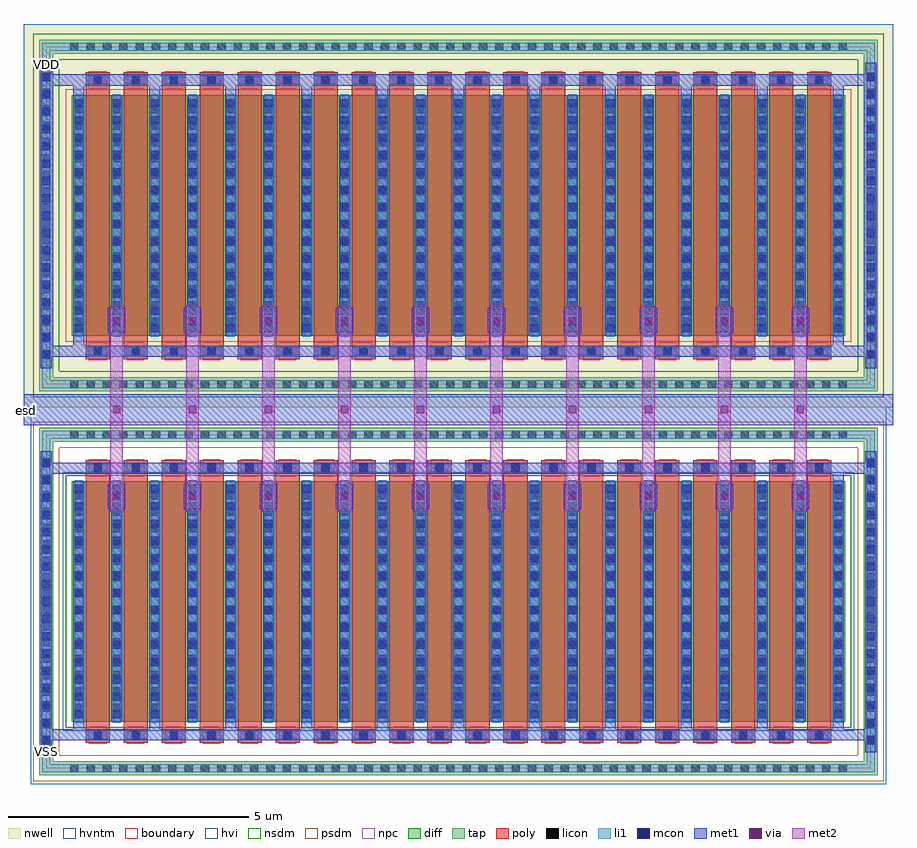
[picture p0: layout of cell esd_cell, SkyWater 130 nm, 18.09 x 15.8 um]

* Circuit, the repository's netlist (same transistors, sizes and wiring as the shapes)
* esd_cell spice

.subckt esd_cell esd VDD VSS
XM1 esd VSS VSS VSS sky130_fd_pr__nfet_g5v0d10v5 L=0.5 W=5 nf=1 ad='int((nf+1)/2) * W/nf * 0.29' as='int((nf+2)/2) * W/nf * 0.29'
+ pd='2*int((nf+1)/2) * (W/nf + 0.29)' ps='2*int((nf+2)/2) * (W/nf + 0.29)' nrd='0.29 / W' nrs='0.29 / W'
+ sa=0 sb=0 sd=0 mult=20 m=20 
XM2 esd VDD VDD VDD sky130_fd_pr__pfet_g5v0d10v5 L=0.5 W=5 nf=1 ad='int((nf+1)/2) * W/nf * 0.29' as='int((nf+2)/2) * W/nf * 0.29'
+ pd='2*int((nf+1)/2) * (W/nf + 0.29)' ps='2*int((nf+2)/2) * (W/nf + 0.29)' nrd='0.29 / W' nrs='0.29 / W'
+ sa=0 sb=0 sd=0 mult=20 m=20 
.ends

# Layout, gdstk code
import gdstk
lib = gdstk.Library(unit=1e-6, precision=1e-09)
def R(c, l, rs):  # rectangles x0, y0, x1, y1
    for r in rs: c.add(gdstk.rectangle(r[:2], r[2:], *l))
def A(c, l, x, y, w, h, nx, ny, dx, dy):  # array of equal rectangles
    R(c, l, [(x+i*dx, y+j*dy, x+i*dx+w, y+j*dy+h) for i in range(nx) for j in range(ny)])
nwell = (64, 20)
diff = (65, 20)
tap = (65, 44)
poly = (66, 20)
licon = (66, 44)
li1 = (67, 20)
mcon = (67, 44)
met1 = (68, 20)
via = (68, 44)
met2 = (69, 20)
hvi = (75, 20)
nsdm = (93, 44)
psdm = (94, 20)
npc = (95, 20)
hvntm = (125, 20)
boundary = (235, 4)

sky130_fd_pr__pfet_g5v0d = lib.new_cell('sky130_fd_pr__pfet_g5v0d10v5_CADZ46')
R(sky130_fd_pr__pfet_g5v0d, nwell, [(-9.045,-3.985,9.045,3.985)])
R(sky130_fd_pr__pfet_g5v0d, diff, [(-8.045,-2.5,8.045,2.5)])
R(sky130_fd_pr__pfet_g5v0d, tap, [(-8.715,-3.655,8.715,-3.365), (-8.715,-3.365,-8.425,3.365), (8.425,-3.365,8.715,3.365), (-8.715,3.365,8.715,3.655)])
A(sky130_fd_pr__pfet_g5v0d, poly, -7.755, -2.985, 0.5, 5.97, 20, 1, 0.79, 0)
A(sky130_fd_pr__pfet_g5v0d, licon, -8.075, -3.595, 0.17, 0.17, 48, 2, 0.34, 7.02)
A(sky130_fd_pr__pfet_g5v0d, licon, -8.655, -2.975, 0.17, 0.17, 1, 18, 0, 0.34)
A(sky130_fd_pr__pfet_g5v0d, licon, 8.485, -2.975, 0.17, 0.17, 1, 18, 0, 0.34)
A(sky130_fd_pr__pfet_g5v0d, licon, -7.59, -2.905, 0.17, 0.17, 20, 2, 0.79, 5.64)
A(sky130_fd_pr__pfet_g5v0d, licon, -7.985, -2.295, 0.17, 0.17, 21, 14, 0.79, 0.34)
A(sky130_fd_pr__pfet_g5v0d, li1, -7.755, -2.905, 0.5, 0.17, 20, 2, 0.79, 5.64)
A(sky130_fd_pr__pfet_g5v0d, li1, -7.985, -2.52, 0.17, 5.04, 21, 1, 0.79, 0)
R(sky130_fd_pr__pfet_g5v0d, li1, [(-8.655,-3.595,8.655,-3.425), (-8.655,-3.425,-8.485,3.425), (8.485,-3.425,8.655,3.425), (-8.655,3.425,8.655,3.595)])
A(sky130_fd_pr__pfet_g5v0d, mcon, -7.59, -2.905, 0.17, 0.17, 20, 2, 0.79, 5.64)
A(sky130_fd_pr__pfet_g5v0d, mcon, -7.985, -2.425, 0.17, 0.17, 21, 14, 0.79, 0.36)
A(sky130_fd_pr__pfet_g5v0d, met1, -7.65, -2.935, 0.29, 0.23, 20, 2, 0.79, 5.64)
A(sky130_fd_pr__pfet_g5v0d, met1, -8.015, -2.5, 0.23, 5, 21, 1, 0.79, 0)
R(sky130_fd_pr__pfet_g5v0d, hvi, [(-9.045,-3.985,9.045,3.985)])
R(sky130_fd_pr__pfet_g5v0d, nsdm, [(-8.84,-3.78,8.84,-3.24), (-8.84,-3.24,-8.3,3.24), (8.3,-3.24,8.84,3.24), (-8.84,3.24,8.84,3.78)])
R(sky130_fd_pr__pfet_g5v0d, psdm, [(-8.17,-2.625,8.17,2.625)])
A(sky130_fd_pr__pfet_g5v0d, npc, -7.69, -3.005, 0.37, 0.37, 20, 2, 0.79, 5.64)
R(sky130_fd_pr__pfet_g5v0d, boundary, [(-8.57,-3.51,8.57,3.51)])

sky130_fd_pr__nfet_g5v0d = lib.new_cell('sky130_fd_pr__nfet_g5v0d10v5_BRTJC6')
R(sky130_fd_pr__nfet_g5v0d, diff, [(-8.045,-2.5,8.045,2.5)])
R(sky130_fd_pr__nfet_g5v0d, tap, [(-8.715,-3.61,8.715,-3.32), (-8.715,-3.32,-8.425,3.32), (8.425,-3.32,8.715,3.32), (-8.715,3.32,8.715,3.61)])
A(sky130_fd_pr__nfet_g5v0d, poly, -7.755, -2.94, 0.5, 5.88, 20, 1, 0.79, 0)
A(sky130_fd_pr__nfet_g5v0d, licon, -8.075, -3.55, 0.17, 0.17, 48, 2, 0.34, 6.93)
A(sky130_fd_pr__nfet_g5v0d, licon, -8.655, -2.975, 0.17, 0.17, 1, 18, 0, 0.34)
A(sky130_fd_pr__nfet_g5v0d, licon, 8.485, -2.975, 0.17, 0.17, 1, 18, 0, 0.34)
A(sky130_fd_pr__nfet_g5v0d, licon, -7.59, -2.86, 0.17, 0.17, 20, 2, 0.79, 5.55)
A(sky130_fd_pr__nfet_g5v0d, licon, -7.985, -2.295, 0.17, 0.17, 21, 14, 0.79, 0.34)
A(sky130_fd_pr__nfet_g5v0d, li1, -7.755, -2.86, 0.5, 0.17, 20, 2, 0.79, 5.55)
A(sky130_fd_pr__nfet_g5v0d, li1, -7.985, -2.52, 0.17, 5.04, 21, 1, 0.79, 0)
R(sky130_fd_pr__nfet_g5v0d, li1, [(-8.655,-3.55,8.655,-3.38), (-8.655,-3.38,-8.485,3.38), (8.485,-3.38,8.655,3.38), (-8.655,3.38,8.655,3.55)])
A(sky130_fd_pr__nfet_g5v0d, mcon, -7.59, -2.86, 0.17, 0.17, 20, 2, 0.79, 5.55)
A(sky130_fd_pr__nfet_g5v0d, mcon, -7.985, -2.425, 0.17, 0.17, 21, 14, 0.79, 0.36)
A(sky130_fd_pr__nfet_g5v0d, met1, -7.65, -2.89, 0.29, 0.23, 20, 2, 0.79, 5.55)
A(sky130_fd_pr__nfet_g5v0d, met1, -8.015, -2.5, 0.23, 5, 21, 1, 0.79, 0)
R(sky130_fd_pr__nfet_g5v0d, hvi, [(-8.9,-3.795,8.9,3.795)])
R(sky130_fd_pr__nfet_g5v0d, nsdm, [(-8.17,-2.625,8.17,2.625)])
R(sky130_fd_pr__nfet_g5v0d, psdm, [(-8.84,-3.735,8.84,-3.195), (-8.84,-3.195,-8.3,3.195), (8.3,-3.195,8.84,3.195), (-8.84,3.195,8.84,3.735)])
A(sky130_fd_pr__nfet_g5v0d, npc, -7.69, -2.96, 0.37, 0.37, 20, 2, 0.79, 5.55)
R(sky130_fd_pr__nfet_g5v0d, hvntm, [(-8.23,-2.685,8.23,2.685)])
R(sky130_fd_pr__nfet_g5v0d, boundary, [(-8.57,-3.465,8.57,3.465)])

esd_cell = lib.new_cell('esd_cell')
A(esd_cell, nwell, 5.445, 13.98, 0.23, 0.23, 8, 1, 1.58, 0)
R(esd_cell, nwell, [(15.7,7.505,15.96,7.72), (0.705,8.555,0.935,9.07), (16.505,8.785,16.735,8.99)])
A(esd_cell, diff, 0.705, 0.965, 0.23, 0.06, 10, 1, 1.58, 0)
A(esd_cell, diff, 5.445, 13.98, 0.23, 0.01, 8, 1, 1.58, 0)
A(esd_cell, li1, 0.735, 0.945, 0.17, 0.08, 10, 1, 1.58, 0)
A(esd_cell, li1, 5.475, 13.98, 0.17, 0.03, 8, 1, 1.58, 0)
R(esd_cell, li1, [(0.065,0.395,0.235,6.535), (17.205,0.395,17.375,6.535), (0.065,8.375,0.235,14.605), (17.205,8.375,17.375,14.605)])
A(esd_cell, mcon, 0.065, 0.5, 0.17, 0.17, 1, 17, 0, 0.36)
A(esd_cell, mcon, 17.205, 0.5, 0.17, 0.17, 1, 17, 0, 0.36)
A(esd_cell, mcon, 0.065, 8.525, 0.17, 0.17, 1, 17, 0, 0.36)
A(esd_cell, mcon, 17.205, 8.525, 0.17, 0.17, 1, 17, 0, 0.36)
A(esd_cell, met1, 0.705, 0.805, 0.23, 0.22, 10, 1, 1.58, 0)
A(esd_cell, met1, 1.43, 5.385, 0.36, 0.52, 10, 2, 1.58, 3.665)
A(esd_cell, met1, 3.865, 13.98, 0.23, 0.215, 9, 1, 1.58, 0)
R(esd_cell, met1, [(0.035,0.335,0.265,0.575), (17.175,0.335,17.405,0.575), (0.035,0.575,17.405,0.805), (0.035,0.805,0.265,6.125), (16.505,0.805,16.735,1.02), (17.175,0.805,17.405,6.125), (16.505,5.94,16.735,6.125), (0.035,6.125,17.405,6.355), (0.035,6.355,0.265,6.595), (17.175,6.355,17.405,6.595), (-0.325,7.135,17.765,7.775), (0.035,8.315,0.265,8.555), (17.175,8.315,17.405,8.555), (0.035,8.555,17.405,8.785), (0.035,8.785,0.295,14.195), (0.705,8.785,0.935,9.07), (16.505,8.785,16.735,8.99), (17.145,8.785,17.405,14.195), (0.705,13.945,0.935,14.195), (2.285,13.975,2.515,14.195), (0.035,14.195,17.405,14.425), (0.035,14.425,0.265,14.665), (17.175,14.425,17.405,14.665)])
A(esd_cell, via, 1.535, 5.57, 0.15, 0.15, 10, 2, 1.58, 1.815)
A(esd_cell, via, 1.535, 9.235, 0.15, 0.15, 10, 1, 1.58, 0)
A(esd_cell, met2, 1.48, 5.335, 0.26, 4.285, 10, 1, 1.58, 0)
A(esd_cell, hvi, 0.4, 0.575, 0.84, 0.84, 10, 1, 1.58, 0)
A(esd_cell, hvi, 5.14, 13.445, 0.84, 0.12, 8, 1, 1.58, 0)
A(esd_cell, hvi, 5.14, 14.405, 0.84, 0.22, 8, 1, 1.58, 0)
R(esd_cell, hvi, [(-0.18,7.26,17.62,7.505), (5.14,13.565,17.25,14.405)])
A(esd_cell, nsdm, 0.58, 0.84, 0.48, 0.31, 10, 1, 1.58, 0)
A(esd_cell, psdm, 5.32, 13.855, 0.48, 0.26, 8, 1, 1.58, 0)
esd_cell.add(gdstk.Reference(sky130_fd_pr__pfet_g5v0d, (8.72,11.49)))
esd_cell.add(gdstk.Reference(sky130_fd_pr__nfet_g5v0d, (8.72,3.465)))
esd_cell.add(gdstk.Label('esd', (-0.27,7.435), layer=68, texttype=16))
esd_cell.add(gdstk.Label('VDD', (0.15,14.635), layer=68, texttype=16))
esd_cell.add(gdstk.Label('VSS', (0.15,0.355), layer=68, texttype=16))

lib.write_gds('esd_cell.gds')
